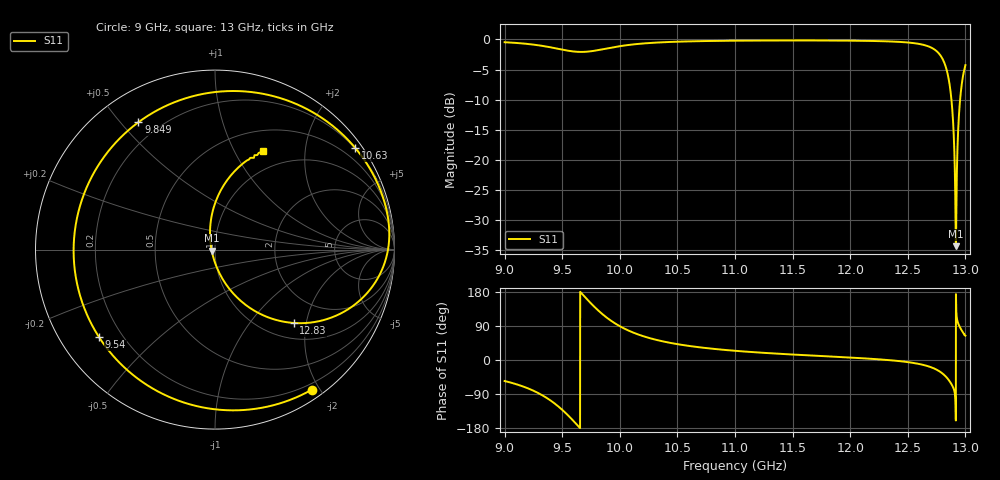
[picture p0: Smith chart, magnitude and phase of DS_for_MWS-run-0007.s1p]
! TOUCHSTONE file generated by CST DESIGN STUDIO
! Date and time: Tue Feb  4 18:43:56 2025
! Project name: C:\Work\MatlabApps\UnitCellOptimizationMatlab\CST\unitcell.cst
! Tree item: Tasks\Sweep1\SPara1\S-Parameters
! Header version: 2024
! Port assignment regex: !\s*Touchstone port\s*([0-9]+)\s*=\s*(CST MWS port|CST DES external port|CST DES block port)\s*(.+)\s* \(\"(.*)\"\)(\s*mode\s*([0-9]+))?.*
! Touchstone port assignment:
! Touchstone port 1 = CST DES external port 1 ("")
# GHz S MA R 50
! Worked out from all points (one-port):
!   4001 points, 9 GHz to 13 GHz, reference 50 ohm
!   lowest |S11| = -34.3 dB at 12.92 GHz (marker M1), VSWR 1.04, Z = 48.2 - j0.647 ohm
!   |S11| at or under -10 dB: 12.88 GHz to 12.95 GHz (75.18 MHz wide, 0.582 % of centre)
!   S11 on the Smith chart (normalised r, x): 9 GHz: 0.12, -1.90; 9.54 GHz: 0.12, -0.33; 9.849 GHz: 0.12, +0.56; 10.63 GHz: 0.19, +3.07; 12.83 GHz: 1.33, -1.69; 13 GHz: 0.75, +1.31
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9  0.9484 -55.4
9.162  0.9249 -70.1
9.314  0.8883 -90.8
9.413  0.8552 -109.9
9.5  0.8231 -131.4
9.54  0.8096 -142.9
9.615  0.7915 -166.5
9.685  0.7881 170.3
9.849  0.828 121.0
10  0.8792 89.2
10.221  0.9285 61.1
10.5  0.9578 41.8
10.629  0.9651 35.9
11  0.9763 24.3
11.5  0.9807 14.4
12  0.9769 6.5
12.5  0.9433 -5.6
12.709  0.8504 -19.9
12.774  0.757 -29.7
12.828  0.5987 -43.1
12.876  0.3363 -62.1
12.89  0.2322 -70.0
12.904  0.1179 -81.4
12.917  0.01921 -159.6
12.93  0.1139 104.0
12.945  0.2427 91.1
12.958  0.3474 83.3
13  0.6112 64.1
